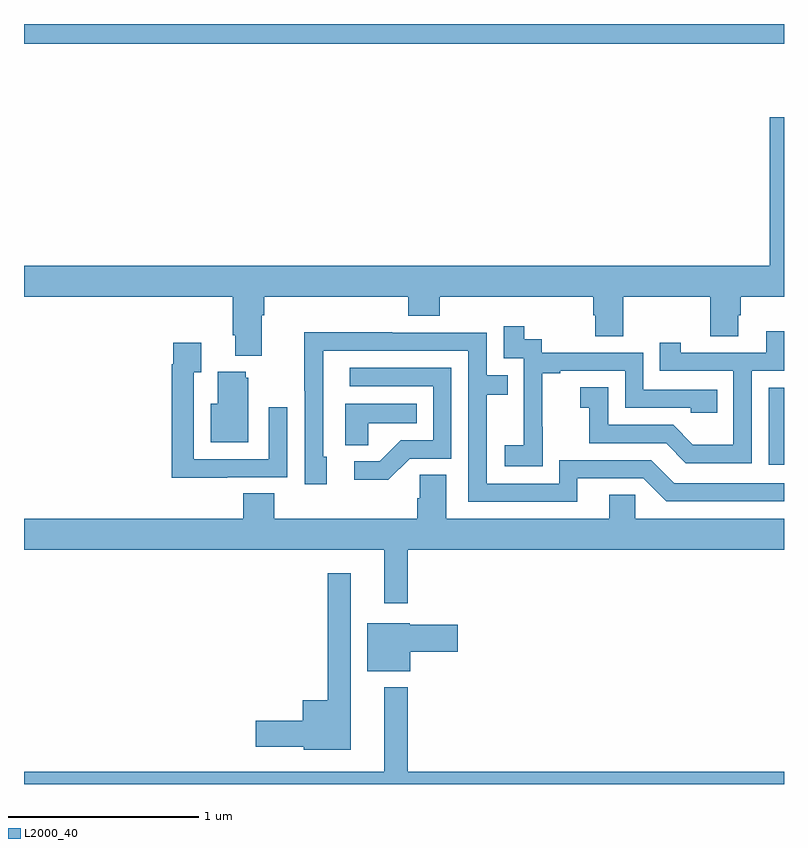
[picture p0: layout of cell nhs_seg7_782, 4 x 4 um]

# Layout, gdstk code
import gdstk
lib = gdstk.Library(unit=1e-6, precision=1e-09)
def R(c, l, rs):  # rectangles x0, y0, x1, y1
    for r in rs: c.add(gdstk.rectangle(r[:2], r[2:], *l))
def P(c, l, *ps):  # polygons
    for p in ps: c.add(gdstk.Polygon(p, *l))
L2000_40 = (2000, 40)

nhs_seg7_782 = lib.new_cell('nhs_seg7_782')
R(nhs_seg7_782, L2000_40, [(172.92,1051.68,173,1052.085), (169,1053.896,173,1054)])
P(nhs_seg7_782, L2000_40, [(170.251,1052.468),(170.264,1052.468),(170.264,1052.564),(171.023,1052.564),(171.023,1052.465),(171.188,1052.465),(171.188,1052.564),(171.995,1052.564),(171.995,1052.466),(172.007,1052.466),(172.007,1052.356),(172.155,1052.356),(172.155,1052.564),(172.612,1052.564),(172.612,1052.356),(172.759,1052.356),(172.759,1052.466),(172.772,1052.466),(172.772,1052.564),(173,1052.564),(173,1053.508),(172.925,1053.508),(172.925,1052.728),(169,1052.728),(169,1052.564),(170.099,1052.564),(170.099,1052.362),(170.111,1052.362),(170.111,1052.255),(170.251,1052.255)],
  [(171.729,1051.879),(171.728,1051.879),(171.728,1052.163),(171.823,1052.163),(171.823,1052.175),(172.164,1052.175),(172.164,1051.98),(172.509,1051.98),(172.509,1051.953),(172.649,1051.953),(172.649,1052.076),(172.26,1052.076),(172.26,1052.271),(171.726,1052.271),(171.726,1052.34),(171.634,1052.34),(171.634,1052.41),(171.525,1052.41),(171.525,1052.241),(171.63,1052.241),(171.63,1052.012),(171.629,1052.012),(171.629,1051.783),(171.531,1051.783),(171.531,1051.673),(171.729,1051.673)],
  [(172.83,1052.175),(173,1052.175),(173,1052.383),(172.907,1052.383),(172.907,1052.271),(172.456,1052.271),(172.456,1052.323),(172.345,1052.323),(172.345,1052.175),(172.734,1052.175),(172.734,1051.786),(172.52,1051.786),(172.416,1051.89),(172.074,1051.89),(172.074,1052.089),(171.927,1052.089),(171.927,1051.979),(171.976,1051.979),(171.976,1051.794),(172.379,1051.794),(172.484,1051.689),(172.83,1051.689)],
  [(171.913,1051.608),(172.26,1051.608),(172.38,1051.488),(173,1051.488),(173,1051.584),(172.422,1051.584),(172.302,1051.704),(171.816,1051.704),(171.816,1051.581),(171.435,1051.581),(171.435,1052.05),(171.545,1052.05),(171.545,1052.151),(171.435,1052.151),(171.435,1052.376),(170.939,1052.376),(170.939,1052.378),(170.476,1052.378),(170.476,1052.071),(170.478,1052.071),(170.478,1051.578),(170.593,1051.578),(170.593,1051.722),(170.574,1051.722),(170.574,1052.28),(171.339,1052.28),(171.339,1051.485),(171.913,1051.485)],
  [(170.069,1051.614),(170.385,1051.614),(170.385,1051.984),(170.289,1051.984),(170.289,1051.71),(169.893,1051.71),(169.893,1052.167),(169.933,1052.167),(169.933,1052.323),(169.785,1052.323),(169.785,1052.21),(169.777,1052.21),(169.777,1051.613),(170.069,1051.613)],
  [(171.03,1051.713),(171.249,1051.713),(171.249,1052.19),(170.715,1052.19),(170.715,1052.094),(171.153,1052.094),(171.153,1051.809),(170.984,1051.809),(170.873,1051.698),(170.739,1051.698),(170.739,1051.601),(170.917,1051.601)],
  [(170.179,1052.139),(170.168,1052.139),(170.168,1052.17),(170.021,1052.17),(170.021,1052.002),(169.982,1052.002),(169.982,1051.799),(170.179,1051.799)],
  [(170.811,1051.898),(171.068,1051.898),(171.068,1052.002),(170.69,1052.002),(170.69,1051.783),(170.811,1051.783)],
  [(171.019,1051.232),(173,1051.232),(173,1051.396),(172.218,1051.396),(172.218,1051.523),(172.079,1051.523),(172.079,1051.396),(171.223,1051.396),(171.223,1051.628),(171.084,1051.628),(171.084,1051.505),(171.071,1051.505),(171.071,1051.396),(170.318,1051.396),(170.318,1051.529),(170.153,1051.529),(170.153,1051.396),(169,1051.396),(169,1051.232),(170.897,1051.232),(170.897,1050.951),(171.019,1050.951)],
  [(170.719,1051.108),(170.598,1051.108),(170.598,1050.442),(170.468,1050.442),(170.468,1050.332),(170.22,1050.332),(170.22,1050.197),(170.472,1050.197),(170.472,1050.179),(170.719,1050.179)],
  [(171.034,1050.695),(171.283,1050.695),(171.283,1050.837),(171.03,1050.837),(171.03,1050.847),(170.807,1050.847),(170.807,1050.593),(171.034,1050.593)],
  [(171.019,1050.508),(170.897,1050.508),(170.897,1050.064),(169,1050.064),(169,1050),(173,1050),(173,1050.064),(171.019,1050.064)])

lib.write_gds('nhs_seg7_782.gds')
